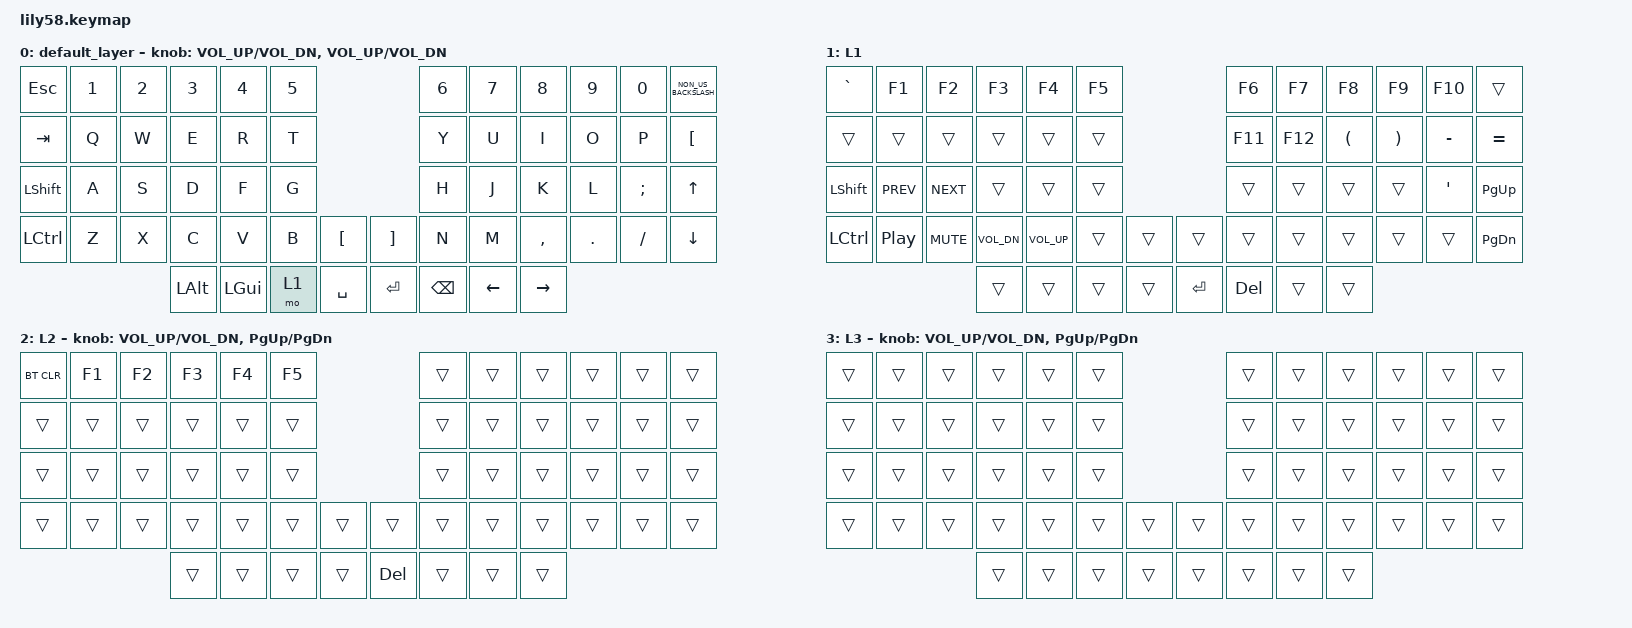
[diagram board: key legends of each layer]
/*
 * Copyright (c) 2020 The ZMK Contributors
 *
 * SPDX-License-Identifier: MIT
 */

#include <behaviors.dtsi>
#include <dt-bindings/zmk/bt.h>
#include <dt-bindings/zmk/keys.h>

/ {
    keymap {
        compatible = "zmk,keymap";

        default_layer {
            // ------------------------------------------------------------------------------------------------------------
            // |  ESC  |  1  |  2  |  3   |  4   |  5   |                   |  6   |  7    |  8    |  9   |   0   |   `   |
            // |  TAB  |  Q  |  W  |  E   |  R   |  T   |                   |  Y   |  U    |  I    |  O   |   P   |   -   |
            // |  CTRL |  A  |  S  |  D   |  F   |  G   |                   |  H   |  J    |  K    |  L   |   ;   |   '   |
            // | SHIFT |  Z  |  X  |  C   |  V   |  B   |   [   |   |   ]   |  N   |  M    |  ,    |  .   |   /   | SHIFT |
            //                     | ALT  | GUI  | LOWER|  SPACE |   | BSPC  | RAISE| ENTER |  FN   |

            bindings = <
&kp ESC     &kp N1  &kp N2  &kp N3    &kp N4    &kp N5                                  &kp N6         &kp N7    &kp N8     &kp N9   &kp N0         &kp NON_US_BACKSLASH
&kp TAB     &kp Q   &kp W   &kp E     &kp R     &kp T                                   &kp Y          &kp U     &kp I      &kp O    &kp P          &kp LEFT_BRACKET
&kp LSHIFT  &kp A   &kp S   &kp D     &kp F     &kp G                                   &kp H          &kp J     &kp K      &kp L    &kp SEMICOLON  &kp UP
&kp LCTRL   &kp Z   &kp X   &kp C     &kp V     &kp B   &kp LBKT     &kp RIGHT_BRACKET  &kp N          &kp M     &kp COMMA  &kp DOT  &kp FSLH       &kp DOWN
                            &kp LALT  &kp LGUI  &mo 1   &kp SPACE    &kp ENTER          &kp BACKSPACE  &kp LEFT  &kp RIGHT
            >;

            /* ENCODERS: Left = PgUp/Dn (Logs), Right = Undo/Redo (Code) */

            sensor-bindings =
                <&inc_dec_kp C_VOL_UP C_VOL_DN>,
                <&inc_dec_kp C_VOL_UP C_VOL_DN>;
        };

        L1 {
            // ------------------------------------------------------------------------------------------------------------
            // |       |  F1 |  F2 |  F3  |  F4  |  F5  |                   |  F6  |  F7   |  F8   |  F9  |  F10  |       |
            // |       |     |     |      |      |      |                   |  F11 |  F12  |       |      | PSCRN |       |
            // |       | PREV| NEXT|      |      |      |                   |      |       |       |      |       |       |
            // |       | PLAY| MUTE| VOL- | VOL+ |      |       |   |       |      |       |       |      |       |       |
            //                     |      |      |      |       |   |       |      |       |       |

            bindings = <
&kp GRAVE       &kp F1      &kp F2      &kp F3        &kp F4        &kp F5                       &kp F6   &kp F7   &kp F8                &kp F9                 &kp F10    &trans
&trans          &trans      &trans      &trans        &trans        &trans                       &kp F11  &kp F12  &kp LEFT_PARENTHESIS  &kp RIGHT_PARENTHESIS  &kp MINUS  &kp EQUAL
&kp LEFT_SHIFT  &kp C_PREV  &kp C_NEXT  &trans        &trans        &trans                       &trans   &trans   &trans                &trans                 &kp SQT    &kp PAGE_UP
&kp LCTRL       &kp C_PP    &kp C_MUTE  &kp C_VOL_DN  &kp C_VOL_UP  &trans  &trans    &trans     &trans   &trans   &trans                &trans                 &trans     &kp PAGE_DOWN
                                        &trans        &trans        &trans  &trans    &kp ENTER  &kp DEL  &trans   &trans
            >;
        };

        L2 {
            // ------------------------------------------------------------------------------------------------------------
            // | BTCLR | BT1 | BT2 |  BT3 |  BT4 |  BT5 |                   |      |       |       |      |       |       |
            // |       |     |     |      |      |      |                   |      |       |       |      |       |       |
            // |       |     |     |      |      |      |                   |      |   [   |   ]   |      |       |   |   |
            // |       |     |     |      |      |      |       |   |       |      |       |   [   |   ]  |   =   |       |
            //                     |      |      |      |       |   |  DEL  |      |       |       |

            bindings = <
&bt BT_CLR  &kp F1  &kp F2  &kp F3  &kp F4  &kp F5                     &trans  &trans  &trans  &trans  &trans  &trans
&trans      &trans  &trans  &trans  &trans  &trans                     &trans  &trans  &trans  &trans  &trans  &trans
&trans      &trans  &trans  &trans  &trans  &trans                     &trans  &trans  &trans  &trans  &trans  &trans
&trans      &trans  &trans  &trans  &trans  &trans  &trans    &trans   &trans  &trans  &trans  &trans  &trans  &trans
                            &trans  &trans  &trans  &trans    &kp DEL  &trans  &trans  &trans
            >;

            /* ENCODERS: Standard Volume & Page Scroll on this layer */

            sensor-bindings = <&inc_dec_kp C_VOL_UP C_VOL_DN &inc_dec_kp PG_UP PG_DN>;
        };

        L3 {
            // ------------------------------------------------------------------------------------------------------------
            // |       |     |     |      |      |      |                   |      |       |       |      |       |       |
            // |       |     |     |      |      |      |                   |      |       |       |      |       |       |
            // |       |     |     |      |      |      |                   |  <-  |   v   |   ^   |  ->  |       |   \   |
            // |       |     |     |      |      |      |       |   |       |  +   |   -   |   {   |   }  |   +   |       |
            //                     |      |      |      |       |   |       |      |       |       |

            bindings = <
&trans  &trans  &trans  &trans  &trans  &trans                    &trans  &trans  &trans  &trans  &trans  &trans
&trans  &trans  &trans  &trans  &trans  &trans                    &trans  &trans  &trans  &trans  &trans  &trans
&trans  &trans  &trans  &trans  &trans  &trans                    &trans  &trans  &trans  &trans  &trans  &trans
&trans  &trans  &trans  &trans  &trans  &trans  &trans    &trans  &trans  &trans  &trans  &trans  &trans  &trans
                        &trans  &trans  &trans  &trans    &trans  &trans  &trans  &trans
            >;

            /* ENCODERS: Standard Volume & Page Scroll on this layer */

            sensor-bindings = <&inc_dec_kp C_VOL_UP C_VOL_DN &inc_dec_kp PG_UP PG_DN>;
        };
    };
};
